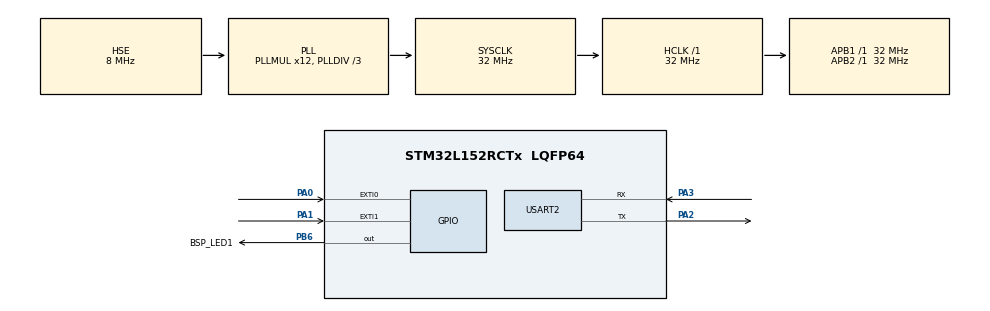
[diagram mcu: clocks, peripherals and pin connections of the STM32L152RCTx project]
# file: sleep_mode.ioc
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Mcu.Family=STM32L1
Mcu.Name=STM32L152RCTx
Mcu.Package=LQFP64
NVIC.EXTI0_IRQn=true\:0\:0\:false\:false\:true\:true\:true\:true
NVIC.EXTI1_IRQn=true\:0\:0\:false\:false\:true\:true\:true\:true
NVIC.PriorityGroup=NVIC_PRIORITYGROUP_0
NVIC.USART2_IRQn=true\:0\:0\:false\:false\:true\:true\:true\:true
PA0-WKUP1.Signal=GPXTI0
PA1.Signal=GPXTI1
PA13.Mode=Serial_Wire
PA13.Signal=SYS_JTMS-SWDIO
PA14.Mode=Serial_Wire
PA14.Signal=SYS_JTCK-SWCLK
PA2.Mode=Asynchronous
PA2.Signal=USART2_TX
PA3.Mode=Asynchronous
PA3.Signal=USART2_RX
PB6.GPIO_Label=BSP_LED1
PB6.Signal=GPIO_Output
PH0-OSC_IN.Mode=HSE-External-Oscillator
PH0-OSC_IN.Signal=RCC_OSC_IN
PH1-OSC_OUT.Mode=HSE-External-Oscillator
PH1-OSC_OUT.Signal=RCC_OSC_OUT
ProjectManager.HeapSize=0x200
ProjectManager.StackSize=0x400
ProjectManager.TargetToolchain=STM32CubeIDE
RCC.48MHZClocksFreq_Value=48000000
RCC.AHBFreq_Value=32000000
RCC.APB1Freq_Value=32000000
RCC.APB1TimFreq_Value=32000000
RCC.APB2Freq_Value=32000000
RCC.APB2TimFreq_Value=32000000
RCC.HCLKFreq_Value=32000000
RCC.HSE_VALUE=8000000
RCC.HSI_VALUE=16000000
RCC.LSE_VALUE=32768
RCC.MSI_VALUE=2097000
RCC.PLLDIV=RCC_PLL_DIV3
RCC.PLLMUL=RCC_PLL_MUL12
RCC.PLLSourceVirtual=RCC_PLLSOURCE_HSE
RCC.RTCClockSelectionVirtual=RCC_RTCCLKSOURCE_LSE
RCC.SYSCLKFreq_VALUE=32000000
RCC.SYSCLKSource=RCC_SYSCLKSOURCE_PLLCLK
RCC.USBOutput=48000000
RCC.VCOOutputFreq_Value=96000000
USART2.VirtualMode=VM_ASYNC
board=STM32L152C-DISCO

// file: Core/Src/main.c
/* USER CODE BEGIN Header */
/**
  ******************************************************************************
  * @file           : main.c
  * @brief          : Main program body
  ******************************************************************************
  * @attention
  *
  * Copyright (c) 2023 STMicroelectronics.
  * All rights reserved.
  *
  * This software is licensed under terms that can be found in the LICENSE file
  * in the root directory of this software component.
  * If no LICENSE file comes with this software, it is provided AS-IS.
  *
  ******************************************************************************
  */
/* USER CODE END Header */
#include "main.h"

/* USER CODE BEGIN Includes */
#include<string.h>
/* USER CODE END Includes */

UART_HandleTypeDef huart2;

/* USER CODE BEGIN PV */
char *str={0};
uint8_t Rx_data;
/* USER CODE END PV */

void SystemClock_Config(void);
static void MX_GPIO_Init(void);
static void MX_USART2_UART_Init(void);

/* USER CODE BEGIN 0 */
void HAL_UART_RxCpltCallback(UART_HandleTypeDef *huart)
{
    HAL_UART_Receive_IT(&huart2, &Rx_data, 1);
    str = "WakeUP from SLEEP by UART\r\n";
    HAL_UART_Transmit(&huart2, (uint8_t *)str, strlen (str), HAL_MAX_DELAY);
}

//void HAL_GPIO_EXTI_Callback(uint16_t GPIO_Pin)
//{
//    str = "WakeUP from SLEEP by EXTI\r\n";
//    HAL_UART_Transmit(&huart2, (uint8_t *)str, strlen (str), HAL_MAX_DELAY);
//    HAL_PWR_DisableSleepOnExit ();
//}

/* USER CODE END 0 */

int main(void)
{

  /* MCU Configuration--------------------------------------------------------*/

  /* Reset of all peripherals, Initializes the Flash interface and the Systick. */
  HAL_Init();

  /* Configure the system clock */
  SystemClock_Config();

  /* Initialize all configured peripherals */
  MX_GPIO_Init();
  MX_USART2_UART_Init();
  /* USER CODE BEGIN 2 */

	  HAL_UART_Receive_IT(&huart2, &Rx_data, 1);

  /* USER CODE END 2 */

  /* Infinite loop */
  while (1)
  {

    /* USER CODE BEGIN 3 */
//	  str = "Going into SLEEP MODE in 5 seconds\r\n";
//	  	  HAL_UART_Transmit(&huart2, (uint8_t *)str, strlen (str), HAL_MAX_DELAY);
//
//	  	  HAL_GPIO_WritePin(BSP_LED1_GPIO_Port, BSP_LED1_Pin, 0);
//	    	  HAL_Delay(5000);
//
//	  /*    Suspend Tick increment to prevent wakeup by Systick interrupt.
//	  	  Otherwise the Systick interrupt will wake up the device within 1ms (HAL time base)
//	  */
//	  	  HAL_SuspendTick();
//
//	  	  HAL_GPIO_WritePin(BSP_LED1_GPIO_Port, BSP_LED1_Pin, 1);  // Just to indicate that the sleep mode is activated
//
//	  	  HAL_PWR_EnableSleepOnExit ();
//
//	  //	  Enter Sleep Mode , wake up is done once User push-button is pressed
//	  	  HAL_PWR_EnterSLEEPMode(PWR_MAINREGULATOR_ON, PWR_SLEEPENTRY_WFI);
//
//
//
//	  //	  Resume Tick interrupt if disabled prior to sleep mode entry
//	  	  HAL_ResumeTick();
//
//	  	  str = "WakeUP from SLEEP\r\n";
//	  	  HAL_UART_Transmit(&huart2, (uint8_t *)str, strlen (str), HAL_MAX_DELAY);
//
//	  	  for (int i=0; i<20; i++)
//	  	  {
//	  		  HAL_GPIO_TogglePin(BSP_LED1_GPIO_Port, BSP_LED1_Pin);
//	  		  HAL_Delay(100);
//	  	  }
//
//
//

	  str = "Going into SLEEP MODE in 5 seconds\r\n";
	  HAL_UART_Transmit(&huart2, (uint8_t* )str, sizeof(str),1000);

	  HAL_GPIO_WritePin(BSP_LED1_GPIO_Port, BSP_LED1_Pin, 1);
  	  HAL_Delay(5000);

/*    Suspend Tick increment to prevent wakeup by Systick interrupt.
	  Otherwise the Systick interrupt will wake up the device within 1ms (HAL time base)
*/
	  HAL_SuspendTick();

	  HAL_GPIO_WritePin(BSP_LED1_GPIO_Port, BSP_LED1_Pin, 0);  // Just to indicate that the sleep mode is activated

//	  HAL_PWR_EnableSleepOnExit ();

//	  Enter Sleep Mode , wake up is done once User push-button is pressed
	  HAL_PWR_EnterSLEEPMode(PWR_MAINREGULATOR_ON, PWR_SLEEPENTRY_WFI);

//	  Resume Tick interrupt if disabled prior to sleep mode entry
	  HAL_ResumeTick();

	  str = "WakeUP from SLEEP\r\n";
	  HAL_UART_Transmit(&huart2, (uint8_t *)str, strlen (str),1000);

	  for (int i=0; i<20; i++)
	  {
		  HAL_GPIO_TogglePin(BSP_LED1_GPIO_Port	, BSP_LED1_Pin);
		  HAL_Delay(100);
	  }

  }
  /* USER CODE END 3 */
}

void SystemClock_Config(void)
{
  RCC_OscInitTypeDef RCC_OscInitStruct = {0};
  RCC_ClkInitTypeDef RCC_ClkInitStruct = {0};

  /** Configure the main internal regulator output voltage
  */
  __HAL_PWR_VOLTAGESCALING_CONFIG(PWR_REGULATOR_VOLTAGE_SCALE1);

  /** Initializes the RCC Oscillators according to the specified parameters
  * in the RCC_OscInitTypeDef structure.
  */
  RCC_OscInitStruct.OscillatorType = RCC_OSCILLATORTYPE_HSE;
  RCC_OscInitStruct.HSEState = RCC_HSE_ON;
  RCC_OscInitStruct.PLL.PLLState = RCC_PLL_ON;
  RCC_OscInitStruct.PLL.PLLSource = RCC_PLLSOURCE_HSE;
  RCC_OscInitStruct.PLL.PLLMUL = RCC_PLL_MUL12;
  RCC_OscInitStruct.PLL.PLLDIV = RCC_PLL_DIV3;
  if (HAL_RCC_OscConfig(&RCC_OscInitStruct) != HAL_OK)
  {
    Error_Handler();
  }

  /** Initializes the CPU, AHB and APB buses clocks
  */
  RCC_ClkInitStruct.ClockType = RCC_CLOCKTYPE_HCLK|RCC_CLOCKTYPE_SYSCLK
                              |RCC_CLOCKTYPE_PCLK1|RCC_CLOCKTYPE_PCLK2;
  RCC_ClkInitStruct.SYSCLKSource = RCC_SYSCLKSOURCE_PLLCLK;
  RCC_ClkInitStruct.AHBCLKDivider = RCC_SYSCLK_DIV1;
  RCC_ClkInitStruct.APB1CLKDivider = RCC_HCLK_DIV1;
  RCC_ClkInitStruct.APB2CLKDivider = RCC_HCLK_DIV1;

  if (HAL_RCC_ClockConfig(&RCC_ClkInitStruct, FLASH_LATENCY_1) != HAL_OK)
  {
    Error_Handler();
  }
}

static void MX_USART2_UART_Init(void)
{

  huart2.Instance = USART2;
  huart2.Init.BaudRate = 115200;
  huart2.Init.WordLength = UART_WORDLENGTH_8B;
  huart2.Init.StopBits = UART_STOPBITS_1;
  huart2.Init.Parity = UART_PARITY_NONE;
  huart2.Init.Mode = UART_MODE_TX_RX;
  huart2.Init.HwFlowCtl = UART_HWCONTROL_NONE;
  huart2.Init.OverSampling = UART_OVERSAMPLING_16;
  if (HAL_UART_Init(&huart2) != HAL_OK)
  {
    Error_Handler();
  }

}

static void MX_GPIO_Init(void)
{
  GPIO_InitTypeDef GPIO_InitStruct = {0};

  /* GPIO Ports Clock Enable */
  __HAL_RCC_GPIOH_CLK_ENABLE();
  __HAL_RCC_GPIOA_CLK_ENABLE();
  __HAL_RCC_GPIOB_CLK_ENABLE();

  /*Configure GPIO pin Output Level */
  HAL_GPIO_WritePin(BSP_LED1_GPIO_Port, BSP_LED1_Pin, GPIO_PIN_RESET);

  /*Configure GPIO pins : PA0 PA1 */
  GPIO_InitStruct.Pin = GPIO_PIN_0|GPIO_PIN_1;
  GPIO_InitStruct.Mode = GPIO_MODE_IT_RISING;
  GPIO_InitStruct.Pull = GPIO_NOPULL;
  HAL_GPIO_Init(GPIOA, &GPIO_InitStruct);

  /*Configure GPIO pin : BSP_LED1_Pin */
  GPIO_InitStruct.Pin = BSP_LED1_Pin;
  GPIO_InitStruct.Mode = GPIO_MODE_OUTPUT_PP;
  GPIO_InitStruct.Pull = GPIO_NOPULL;
  GPIO_InitStruct.Speed = GPIO_SPEED_FREQ_LOW;
  HAL_GPIO_Init(BSP_LED1_GPIO_Port, &GPIO_InitStruct);

  /* EXTI interrupt init*/
  HAL_NVIC_SetPriority(EXTI0_IRQn, 0, 0);
  HAL_NVIC_EnableIRQ(EXTI0_IRQn);

  HAL_NVIC_SetPriority(EXTI1_IRQn, 0, 0);
  HAL_NVIC_EnableIRQ(EXTI1_IRQn);

}

void Error_Handler(void)
{
  __disable_irq();
  while (1)
  {
  }
}
